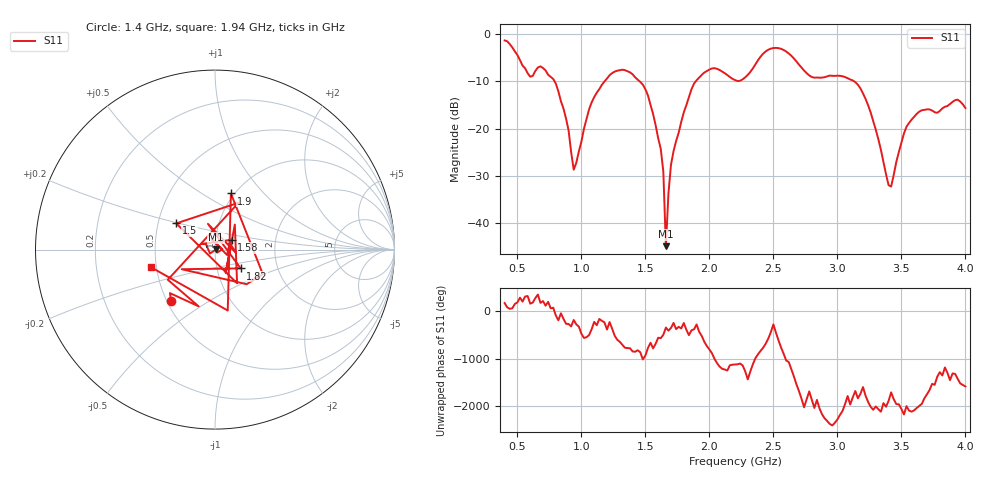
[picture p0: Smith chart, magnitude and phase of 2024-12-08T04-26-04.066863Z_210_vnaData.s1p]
!Created with skrf (http://scikit-rf.org).
# Hz S RI R 50.0
!freq ReS11 ImS11
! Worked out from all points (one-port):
!   181 points, 400 MHz to 4 GHz, reference 50 ohm
!   lowest |S11| = -44.9 dB at 1.66 GHz (marker M1), VSWR 1.01, Z = 50.6 + j0.0934 ohm
!   |S11| at or under -10 dB: 790.4 MHz to 1.181 GHz (390.4 MHz wide, 39.6 % of centre); 1.455 GHz to 1.893 GHz (438.3 MHz wide, 26.2 % of centre); 3.131 GHz to end of sweep
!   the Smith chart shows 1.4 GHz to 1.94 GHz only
!   S11 on the Smith chart (normalised r, x): 1.4 GHz: 0.53, -0.35; 1.5 GHz: 0.62, +0.19; 1.58 GHz: 1.20, +0.13; 1.82 GHz: 1.30, -0.28; 1.9 GHz: 0.96, +0.67; 1.94 GHz: 0.47, -0.11
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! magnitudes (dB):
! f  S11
! 400 MHz  -1.3
! 600 MHz  -9.0
! 680 MHz  -6.8
! 780 MHz  -9.5
! 860 MHz  -15.8
! 940 MHz  -28.7
! 1.08 GHz  -14.5
! 1.3 GHz  -7.6
! 1.4 GHz  -8.5
! 1.5 GHz  -11.7
! 1.58 GHz  -19.3
! 1.64 GHz  -29.1
! 1.66 GHz  -44.9
! 1.68 GHz  -33.7
! 1.7 GHz  -27.6
! 1.76 GHz  -20.9
! 1.82 GHz  -15.0
! 1.9 GHz  -9.8
! 1.94 GHz  -8.6
! 2.2 GHz  -9.7
! 2.48 GHz  -3.1
! 2.66 GHz  -5.1
! 2.8 GHz  -9.1
! 3.1 GHz  -9.6
! 3.24 GHz  -15.1
! 3.4 GHz  -32.0
! 3.56 GHz  -18.8
! 4 GHz  -15.6
